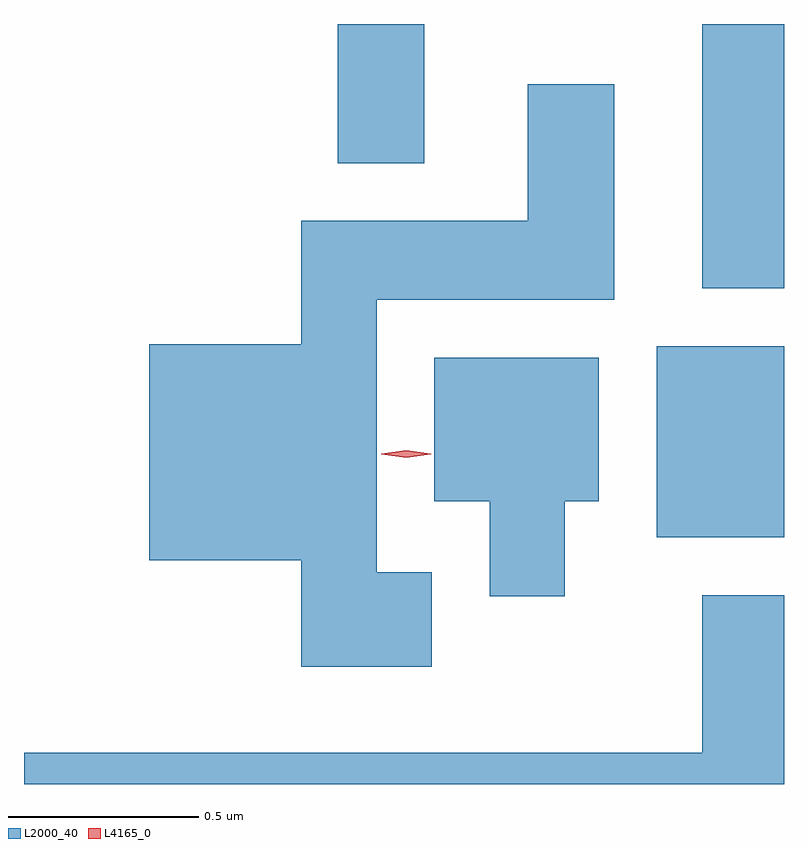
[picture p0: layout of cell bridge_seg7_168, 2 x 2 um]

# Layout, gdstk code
import gdstk
lib = gdstk.Library(unit=1e-6, precision=1e-09)
def R(c, l, rs):  # rectangles x0, y0, x1, y1
    for r in rs: c.add(gdstk.rectangle(r[:2], r[2:], *l))
def P(c, l, *ps):  # polygons
    for p in ps: c.add(gdstk.Polygon(p, *l))
L2000_40 = (2000, 40)
L4165_0 = (4165, 0)

bridge_seg7_168 = lib.new_cell('bridge_seg7_168')
R(bridge_seg7_168, L2000_40, [(1641.101,1721.811,1641.436,1722.314), (1641.221,1722.466,1641.436,1723.162), (1640.261,1722.796,1640.489,1723.162)])
P(bridge_seg7_168, L2000_40, [(1640.509,1721.719),(1640.364,1721.719),(1640.364,1722.436),(1640.989,1722.436),(1640.989,1723.004),(1640.761,1723.004),(1640.761,1722.644),(1640.166,1722.644),(1640.166,1722.319),(1639.766,1722.319),(1639.766,1721.751),(1640.166,1721.751),(1640.166,1721.471),(1640.509,1721.471)],
  [(1640.859,1721.906),(1640.949,1721.906),(1640.949,1722.284),(1640.516,1722.284),(1640.516,1721.906),(1640.661,1721.906),(1640.661,1721.656),(1640.859,1721.656)],
  [(1641.436,1721.659),(1641.221,1721.659),(1641.221,1721.244),(1639.436,1721.244),(1639.436,1721.162),(1641.436,1721.162)])
P(bridge_seg7_168, L4165_0, [(1640.442,1722.02),(1640.376,1722.03),(1640.376,1722.03),(1640.376,1722.031),(1640.442,1722.04),(1640.507,1722.031),(1640.508,1722.03),(1640.507,1722.03)])

lib.write_gds('bridge_seg7_168.gds')
